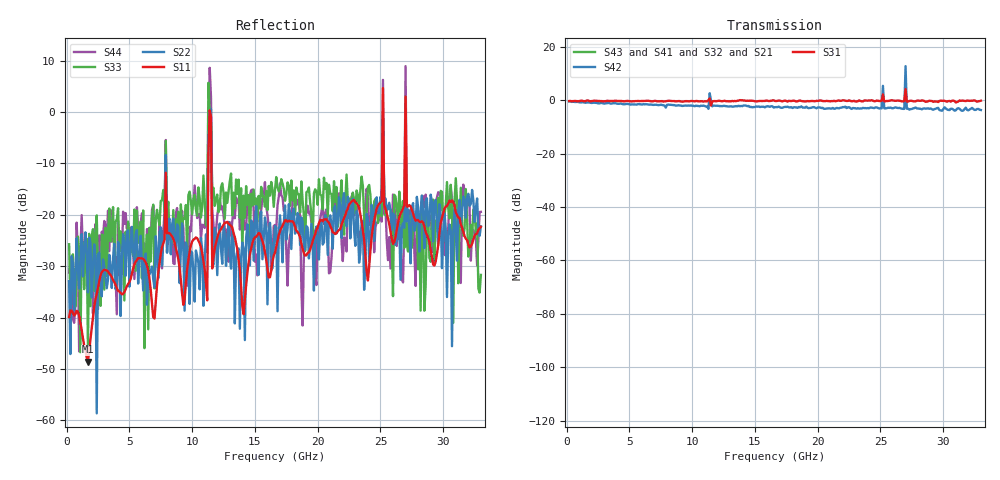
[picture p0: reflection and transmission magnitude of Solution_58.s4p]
# GHZ S RI R 50
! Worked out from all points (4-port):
!   329 points, 200 MHz to 33 GHz, reference 50 ohm
!   strongest paths, dB at 200 MHz, 8.4 GHz, 16.6 GHz, 24.8 GHz, 33 GHz:
!     S31: -0.4, -0.4, -0.3, -0.2, -0.2
!     S42: -0.5, -1.8, -2.7, -3.0, -3.7
!     S43: -, -, -, -, -
!     S41: -, -, -, -, -
!     S32: -, -, -, -, -
!     S21: -, -, -, -, -
!   lowest |S11| = -48.6 dB at 1.7 GHz (marker M1), VSWR 1.01, Z = 50.1 - j0.353 ohm
!   |S11| at or under -10 dB: start of sweep to 11.29 GHz; 11.53 GHz to 25.13 GHz (13.6 GHz wide, 74.2 % of centre); 27.06 GHz to end of sweep (the widest 3 of 4)
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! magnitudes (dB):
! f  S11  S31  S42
! 200 MHz  -39.9  -0.4  -0.5
! 1.7 GHz  -48.6  -0.1  -0.9
! 11.3 GHz  -7.8  0.0  -3.3
! 14.2 GHz  -36.4  -0.1  -2.0
! 25.2 GHz  4.6  2.1  5.3
! 25.8 GHz  -23.2  -0.2  -2.8
! 33 GHz  -22.4  -0.2  -3.7
